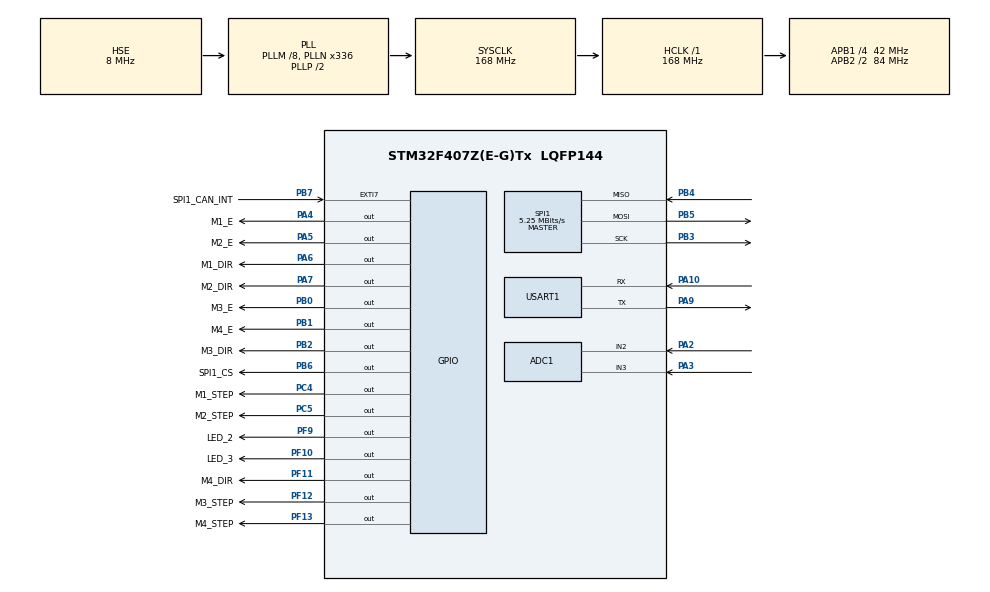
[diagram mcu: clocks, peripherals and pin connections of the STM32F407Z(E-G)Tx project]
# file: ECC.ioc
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ADC1.Channel-0\#ChannelRegularConversion=ADC_CHANNEL_3
ADC1.NbrOfConversionFlag=1
ADC1.Rank-0\#ChannelRegularConversion=1
ADC1.SamplingTime-0\#ChannelRegularConversion=ADC_SAMPLETIME_3CYCLES
ADC1.master=1
FREERTOS.Tasks01=defaultTask,0,128,StartDefaultTask,Default,NULL,Dynamic,NULL,NULL;Usart_Task,-3,128,Usart_Func,Default,NULL,Dynamic,NULL,NULL;MOT_Task,1,128,MOT_Func,Default,NULL,Dynamic,NULL,NULL;CanTask,1,128,CanTaskFunc,Default,NULL,Dynamic,NULL,NULL
Mcu.Family=STM32F4
Mcu.Name=STM32F407Z(E-G)Tx
Mcu.Package=LQFP144
NVIC.EXTI9_5_IRQn=true\:5\:0\:false\:false\:true\:true\:true
NVIC.PriorityGroup=NVIC_PRIORITYGROUP_4
PA10.Mode=Asynchronous
PA10.Signal=USART1_RX
PA13.Mode=Serial_Wire
PA13.Signal=SYS_JTMS-SWDIO
PA14.Mode=Serial_Wire
PA14.Signal=SYS_JTCK-SWCLK
PA2.Signal=ADCx_IN2
PA3.Signal=ADCx_IN3
PA4.GPIO_Label=M1_E
PA4.Signal=GPIO_Output
PA5.GPIO_Label=M2_E
PA5.Signal=GPIO_Output
PA6.GPIO_Label=M1_DIR
PA6.Signal=GPIO_Output
PA7.GPIO_Label=M2_DIR
PA7.Signal=GPIO_Output
PA9.Mode=Asynchronous
PA9.Signal=USART1_TX
PB0.GPIO_Label=M3_E
PB0.Signal=GPIO_Output
PB1.GPIO_Label=M4_E
PB1.Signal=GPIO_Output
PB2.GPIO_Label=M3_DIR
PB2.Signal=GPIO_Output
PB3.Mode=Full_Duplex_Master
PB3.Signal=SPI1_SCK
PB4.Mode=Full_Duplex_Master
PB4.Signal=SPI1_MISO
PB5.Mode=Full_Duplex_Master
PB5.Signal=SPI1_MOSI
PB6.GPIO_Label=SPI1_CS
PB6.GPIO_Speed=GPIO_SPEED_FREQ_MEDIUM
PB6.PinState=GPIO_PIN_SET
PB6.Signal=GPIO_Output
PB7.GPIO_Label=SPI1_CAN_INT
PB7.GPIO_ModeDefaultEXTI=GPIO_MODE_IT_FALLING
PB7.Signal=GPXTI7
PC14-OSC32_IN.Mode=LSE-External-Oscillator
PC14-OSC32_IN.Signal=RCC_OSC32_IN
PC15-OSC32_OUT.Mode=LSE-External-Oscillator
PC15-OSC32_OUT.Signal=RCC_OSC32_OUT
PC4.GPIO_Label=M1_STEP
PC4.Signal=GPIO_Output
PC5.GPIO_Label=M2_STEP
PC5.Signal=GPIO_Output
PF10.GPIO_Label=LED_3
PF10.Signal=GPIO_Output
PF11.GPIO_Label=M4_DIR
PF11.Signal=GPIO_Output
PF12.GPIO_Label=M3_STEP
PF12.Signal=GPIO_Output
PF13.GPIO_Label=M4_STEP
PF13.Signal=GPIO_Output
PF9.GPIO_Label=LED_2
PF9.Signal=GPIO_Output
PH0-OSC_IN.Mode=HSE-External-Oscillator
PH0-OSC_IN.Signal=RCC_OSC_IN
PH1-OSC_OUT.Mode=HSE-External-Oscillator
PH1-OSC_OUT.Signal=RCC_OSC_OUT
ProjectManager.HeapSize=0x200
ProjectManager.StackSize=0x400
ProjectManager.TargetToolchain=EWARM
RCC.48MHZClocksFreq_Value=84000000
RCC.AHBFreq_Value=168000000
RCC.APB1CLKDivider=RCC_HCLK_DIV4
RCC.APB1Freq_Value=42000000
RCC.APB1TimFreq_Value=84000000
RCC.APB2CLKDivider=RCC_HCLK_DIV2
RCC.APB2Freq_Value=84000000
RCC.APB2TimFreq_Value=168000000
RCC.CortexFreq_Value=168000000
RCC.HCLKFreq_Value=168000000
RCC.HSE_VALUE=8000000
RCC.HSI_VALUE=16000000
RCC.PLLM=8
RCC.PLLN=336
RCC.PLLSourceVirtual=RCC_PLLSOURCE_HSE
RCC.SYSCLKFreq_VALUE=168000000
RCC.SYSCLKSource=RCC_SYSCLKSOURCE_PLLCLK
RCC.VCOOutputFreq_Value=336000000
SH.ADCx_IN2.0=ADC1_IN2,IN2
SH.ADCx_IN3.0=ADC1_IN3,IN3
SPI1.BaudRatePrescaler=SPI_BAUDRATEPRESCALER_16
SPI1.CalculateBaudRate=5.25 MBits/s
SPI1.Direction=SPI_DIRECTION_2LINES
SPI1.Mode=SPI_MODE_MASTER
SPI1.VirtualType=VM_MASTER
USART1.VirtualMode=VM_ASYNC
VP_FREERTOS_VS_ENABLE.Mode=Enabled
board=ECC

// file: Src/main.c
/**
  ******************************************************************************
  * File Name          : main.c
  * Description        : Main program body
  ******************************************************************************
  * This notice applies to any and all portions of this file
  * that are not between comment pairs USER CODE BEGIN and
  * USER CODE END. Other portions of this file, whether
  * inserted by the user or by software development tools
  * are owned by their respective copyright owners.
  *
  * Copyright (c) 2017 STMicroelectronics International N.V.
  * All rights reserved.
  *
  * Redistribution and use in source and binary forms, with or without
  * modification, are permitted, provided that the following conditions are met:
  *
  * 1. Redistribution of source code must retain the above copyright notice,
  *    this list of conditions and the following disclaimer.
  * 2. Redistributions in binary form must reproduce the above copyright notice,
  *    this list of conditions and the following disclaimer in the documentation
  *    and/or other materials provided with the distribution.
  * 3. Neither the name of STMicroelectronics nor the names of other
  *    contributors to this software may be used to endorse or promote products
  *    derived from this software without specific written permission.
  * 4. This software, including modifications and/or derivative works of this
  *    software, must execute solely and exclusively on microcontroller or
  *    microprocessor devices manufactured by or for STMicroelectronics.
  * 5. Redistribution and use of this software other than as permitted under
  *    this license is void and will automatically terminate your rights under
  *    this license.
  *
  * THIS SOFTWARE IS PROVIDED BY STMICROELECTRONICS AND CONTRIBUTORS "AS IS"
  * AND ANY EXPRESS, IMPLIED OR STATUTORY WARRANTIES, INCLUDING, BUT NOT
  * LIMITED TO, THE IMPLIED WARRANTIES OF MERCHANTABILITY, FITNESS FOR A
  * PARTICULAR PURPOSE AND NON-INFRINGEMENT OF THIRD PARTY INTELLECTUAL PROPERTY
  * RIGHTS ARE DISCLAIMED TO THE FULLEST EXTENT PERMITTED BY LAW. IN NO EVENT
  * SHALL STMICROELECTRONICS OR CONTRIBUTORS BE LIABLE FOR ANY DIRECT, INDIRECT,
  * INCIDENTAL, SPECIAL, EXEMPLARY, OR CONSEQUENTIAL DAMAGES (INCLUDING, BUT NOT
  * LIMITED TO, PROCUREMENT OF SUBSTITUTE GOODS OR SERVICES; LOSS OF USE, DATA,
  * OR PROFITS; OR BUSINESS INTERRUPTION) HOWEVER CAUSED AND ON ANY THEORY OF
  * LIABILITY, WHETHER IN CONTRACT, STRICT LIABILITY, OR TORT (INCLUDING
  * NEGLIGENCE OR OTHERWISE) ARISING IN ANY WAY OUT OF THE USE OF THIS SOFTWARE,
  * EVEN IF ADVISED OF THE POSSIBILITY OF SUCH DAMAGE.
  *
  ******************************************************************************
  */
#include "main.h"
#include "stm32f4xx_hal.h"
#include "cmsis_os.h"

/* USER CODE BEGIN Includes */
#include "string.h"
#include "stm32f4xx_ll_usart.h"
#include "task.h"
#include "ADC.h"
#include "USART.h"
#include "Stepper.h"
#include "mcp2515.h"
#include "msp430_spi.h"
/* USER CODE END Includes */

ADC_HandleTypeDef hadc1;

SPI_HandleTypeDef hspi1;

UART_HandleTypeDef huart1;

osThreadId defaultTaskHandle;
osThreadId Usart_TaskHandle;
osThreadId MOT_TaskHandle;
osThreadId CanTaskHandle;

/* USER CODE BEGIN PV */
/* Private variables ---------------------------------------------------------*/

/* USER CODE END PV */

void SystemClock_Config(void);
static void MX_GPIO_Init(void);
static void MX_ADC1_Init(void);
static void MX_USART1_UART_Init(void);
static void MX_SPI1_Init(void);
void StartDefaultTask(void const * argument);
void Usart_Func(void const * argument);
void MOT_Func(void const * argument);
void CanTaskFunc(void const * argument);

/* USER CODE BEGIN PFP */
/* Private function prototypes -----------------------------------------------*/

/* USER CODE END PFP */

int main(void)
{

  /* MCU Configuration----------------------------------------------------------*/

  /* Reset of all peripherals, Initializes the Flash interface and the Systick. */
  HAL_Init();

  /* USER CODE BEGIN Init */
  ADC_Init();
  MOT_Init();

  USART_Used = &huart1;
  /* USER CODE END Init */

  /* Configure the system clock */
  SystemClock_Config();

  /* Initialize all configured peripherals */
  MX_GPIO_Init();
  MX_ADC1_Init();
  MX_USART1_UART_Init();
  MX_SPI1_Init();

  /* USER CODE BEGIN 2 */
  GPIOF->ODR |= 0x00000200;
  GPIOF->ODR |= 0x00000400;
  /* USER CODE END 2 */

  /* Create the thread(s) */
  /* definition and creation of defaultTask */
  osThreadDef(defaultTask, StartDefaultTask, osPriorityNormal, 0, 128);
  defaultTaskHandle = osThreadCreate(osThread(defaultTask), NULL);

  /* definition and creation of Usart_Task */
  osThreadDef(Usart_Task, Usart_Func, osPriorityIdle, 0, 128);
  Usart_TaskHandle = osThreadCreate(osThread(Usart_Task), NULL);

  /* definition and creation of MOT_Task */
  osThreadDef(MOT_Task, MOT_Func, osPriorityAboveNormal, 0, 128);
  MOT_TaskHandle = osThreadCreate(osThread(MOT_Task), NULL);

  /* definition and creation of CanTask */
  osThreadDef(CanTask, CanTaskFunc, osPriorityAboveNormal, 0, 128);
  CanTaskHandle = osThreadCreate(osThread(CanTask), NULL);

  /* Start scheduler */
  osKernelStart();

  /* We should never get here as control is now taken by the scheduler */

  /* Infinite loop */
  while (1)
  {

  }

}

/** System Clock Configuration
*/
void SystemClock_Config(void)
{

  RCC_OscInitTypeDef RCC_OscInitStruct;
  RCC_ClkInitTypeDef RCC_ClkInitStruct;

    /**Configure the main internal regulator output voltage
    */
  __HAL_RCC_PWR_CLK_ENABLE();

  __HAL_PWR_VOLTAGESCALING_CONFIG(PWR_REGULATOR_VOLTAGE_SCALE1);

    /**Initializes the CPU, AHB and APB busses clocks
    */
  RCC_OscInitStruct.OscillatorType = RCC_OSCILLATORTYPE_HSE;
  RCC_OscInitStruct.HSEState = RCC_HSE_ON;
  RCC_OscInitStruct.PLL.PLLState = RCC_PLL_ON;
  RCC_OscInitStruct.PLL.PLLSource = RCC_PLLSOURCE_HSE;
  RCC_OscInitStruct.PLL.PLLM = 8;
  RCC_OscInitStruct.PLL.PLLN = 336;
  RCC_OscInitStruct.PLL.PLLP = RCC_PLLP_DIV2;
  RCC_OscInitStruct.PLL.PLLQ = 4;
  if (HAL_RCC_OscConfig(&RCC_OscInitStruct) != HAL_OK)
  {
    _Error_Handler(__FILE__, __LINE__);
  }

    /**Initializes the CPU, AHB and APB busses clocks
    */
  RCC_ClkInitStruct.ClockType = RCC_CLOCKTYPE_HCLK|RCC_CLOCKTYPE_SYSCLK
                              |RCC_CLOCKTYPE_PCLK1|RCC_CLOCKTYPE_PCLK2;
  RCC_ClkInitStruct.SYSCLKSource = RCC_SYSCLKSOURCE_PLLCLK;
  RCC_ClkInitStruct.AHBCLKDivider = RCC_SYSCLK_DIV1;
  RCC_ClkInitStruct.APB1CLKDivider = RCC_HCLK_DIV4;
  RCC_ClkInitStruct.APB2CLKDivider = RCC_HCLK_DIV2;

  if (HAL_RCC_ClockConfig(&RCC_ClkInitStruct, FLASH_LATENCY_5) != HAL_OK)
  {
    _Error_Handler(__FILE__, __LINE__);
  }

    /**Configure the Systick interrupt time
    */
  HAL_SYSTICK_Config(HAL_RCC_GetHCLKFreq()/1000);

    /**Configure the Systick
    */
  HAL_SYSTICK_CLKSourceConfig(SYSTICK_CLKSOURCE_HCLK);

  /* SysTick_IRQn interrupt configuration */
  HAL_NVIC_SetPriority(SysTick_IRQn, 15, 0);
}

/* ADC1 init function */
static void MX_ADC1_Init(void)
{

  ADC_ChannelConfTypeDef sConfig;

    /**Configure the global features of the ADC (Clock, Resolution, Data Alignment and number of conversion)
    */
  hadc1.Instance = ADC1;
  hadc1.Init.ClockPrescaler = ADC_CLOCK_SYNC_PCLK_DIV4;
  hadc1.Init.Resolution = ADC_RESOLUTION_12B;
  hadc1.Init.ScanConvMode = DISABLE;
  hadc1.Init.ContinuousConvMode = DISABLE;
  hadc1.Init.DiscontinuousConvMode = DISABLE;
  hadc1.Init.ExternalTrigConvEdge = ADC_EXTERNALTRIGCONVEDGE_NONE;
  hadc1.Init.ExternalTrigConv = ADC_SOFTWARE_START;
  hadc1.Init.DataAlign = ADC_DATAALIGN_RIGHT;
  hadc1.Init.NbrOfConversion = 1;
  hadc1.Init.DMAContinuousRequests = DISABLE;
  hadc1.Init.EOCSelection = ADC_EOC_SINGLE_CONV;
  if (HAL_ADC_Init(&hadc1) != HAL_OK)
  {
    _Error_Handler(__FILE__, __LINE__);
  }

    /**Configure for the selected ADC regular channel its corresponding rank in the sequencer and its sample time.
    */
  sConfig.Channel = ADC_CHANNEL_3;
  sConfig.Rank = 1;
  sConfig.SamplingTime = ADC_SAMPLETIME_3CYCLES;
  if (HAL_ADC_ConfigChannel(&hadc1, &sConfig) != HAL_OK)
  {
    _Error_Handler(__FILE__, __LINE__);
  }

}

/* SPI1 init function */
static void MX_SPI1_Init(void)
{

  hspi1.Instance = SPI1;
  hspi1.Init.Mode = SPI_MODE_MASTER;
  hspi1.Init.Direction = SPI_DIRECTION_2LINES;
  hspi1.Init.DataSize = SPI_DATASIZE_8BIT;
  hspi1.Init.CLKPolarity = SPI_POLARITY_LOW;
  hspi1.Init.CLKPhase = SPI_PHASE_1EDGE;
  hspi1.Init.NSS = SPI_NSS_SOFT;
  hspi1.Init.BaudRatePrescaler = SPI_BAUDRATEPRESCALER_16;
  hspi1.Init.FirstBit = SPI_FIRSTBIT_MSB;
  hspi1.Init.TIMode = SPI_TIMODE_DISABLE;
  hspi1.Init.CRCCalculation = SPI_CRCCALCULATION_DISABLE;
  hspi1.Init.CRCPolynomial = 10;
  if (HAL_SPI_Init(&hspi1) != HAL_OK)
  {
    _Error_Handler(__FILE__, __LINE__);
  }

}

/* USART1 init function */
static void MX_USART1_UART_Init(void)
{

  huart1.Instance = USART1;
  huart1.Init.BaudRate = 115200;
  huart1.Init.WordLength = UART_WORDLENGTH_8B;
  huart1.Init.StopBits = UART_STOPBITS_1;
  huart1.Init.Parity = UART_PARITY_NONE;
  huart1.Init.Mode = UART_MODE_TX_RX;
  huart1.Init.HwFlowCtl = UART_HWCONTROL_NONE;
  huart1.Init.OverSampling = UART_OVERSAMPLING_16;
  if (HAL_UART_Init(&huart1) != HAL_OK)
  {
    _Error_Handler(__FILE__, __LINE__);
  }

}

/** Configure pins as
        * Analog
        * Input
        * Output
        * EVENT_OUT
        * EXTI
*/
static void MX_GPIO_Init(void)
{

  GPIO_InitTypeDef GPIO_InitStruct;

  /* GPIO Ports Clock Enable */
  __HAL_RCC_GPIOC_CLK_ENABLE();
  __HAL_RCC_GPIOF_CLK_ENABLE();
  __HAL_RCC_GPIOH_CLK_ENABLE();
  __HAL_RCC_GPIOA_CLK_ENABLE();
  __HAL_RCC_GPIOB_CLK_ENABLE();

  /*Configure GPIO pin Output Level */
  HAL_GPIO_WritePin(GPIOF, LED_2_Pin|LED_3_Pin|M4_DIR_Pin|M3_STEP_Pin
                          |M4_STEP_Pin, GPIO_PIN_RESET);

  /*Configure GPIO pin Output Level */
  HAL_GPIO_WritePin(GPIOA, M1_E_Pin|M2_E_Pin|M1_DIR_Pin|M2_DIR_Pin, GPIO_PIN_RESET);

  /*Configure GPIO pin Output Level */
  HAL_GPIO_WritePin(GPIOC, M1_STEP_Pin|M2_STEP_Pin, GPIO_PIN_RESET);

  /*Configure GPIO pin Output Level */
  HAL_GPIO_WritePin(GPIOB, M3_E_Pin|M4_E_Pin|M3_DIR_Pin, GPIO_PIN_RESET);

  /*Configure GPIO pin Output Level */
  HAL_GPIO_WritePin(SPI1_CS_GPIO_Port, SPI1_CS_Pin, GPIO_PIN_SET);

  /*Configure GPIO pins : LED_2_Pin LED_3_Pin M4_DIR_Pin M3_STEP_Pin
                           M4_STEP_Pin */
  GPIO_InitStruct.Pin = LED_2_Pin|LED_3_Pin|M4_DIR_Pin|M3_STEP_Pin
                          |M4_STEP_Pin;
  GPIO_InitStruct.Mode = GPIO_MODE_OUTPUT_PP;
  GPIO_InitStruct.Pull = GPIO_NOPULL;
  GPIO_InitStruct.Speed = GPIO_SPEED_FREQ_LOW;
  HAL_GPIO_Init(GPIOF, &GPIO_InitStruct);

  /*Configure GPIO pins : M1_E_Pin M2_E_Pin M1_DIR_Pin M2_DIR_Pin */
  GPIO_InitStruct.Pin = M1_E_Pin|M2_E_Pin|M1_DIR_Pin|M2_DIR_Pin;
  GPIO_InitStruct.Mode = GPIO_MODE_OUTPUT_PP;
  GPIO_InitStruct.Pull = GPIO_NOPULL;
  GPIO_InitStruct.Speed = GPIO_SPEED_FREQ_LOW;
  HAL_GPIO_Init(GPIOA, &GPIO_InitStruct);

  /*Configure GPIO pins : M1_STEP_Pin M2_STEP_Pin */
  GPIO_InitStruct.Pin = M1_STEP_Pin|M2_STEP_Pin;
  GPIO_InitStruct.Mode = GPIO_MODE_OUTPUT_PP;
  GPIO_InitStruct.Pull = GPIO_NOPULL;
  GPIO_InitStruct.Speed = GPIO_SPEED_FREQ_LOW;
  HAL_GPIO_Init(GPIOC, &GPIO_InitStruct);

  /*Configure GPIO pins : M3_E_Pin M4_E_Pin M3_DIR_Pin */
  GPIO_InitStruct.Pin = M3_E_Pin|M4_E_Pin|M3_DIR_Pin;
  GPIO_InitStruct.Mode = GPIO_MODE_OUTPUT_PP;
  GPIO_InitStruct.Pull = GPIO_NOPULL;
  GPIO_InitStruct.Speed = GPIO_SPEED_FREQ_LOW;
  HAL_GPIO_Init(GPIOB, &GPIO_InitStruct);

  /*Configure GPIO pin : SPI1_CS_Pin */
  GPIO_InitStruct.Pin = SPI1_CS_Pin;
  GPIO_InitStruct.Mode = GPIO_MODE_OUTPUT_PP;
  GPIO_InitStruct.Pull = GPIO_NOPULL;
  GPIO_InitStruct.Speed = GPIO_SPEED_FREQ_MEDIUM;
  HAL_GPIO_Init(SPI1_CS_GPIO_Port, &GPIO_InitStruct);

  /*Configure GPIO pin : SPI1_CAN_INT_Pin */
  GPIO_InitStruct.Pin = SPI1_CAN_INT_Pin;
  GPIO_InitStruct.Mode = GPIO_MODE_IT_FALLING;
  GPIO_InitStruct.Pull = GPIO_NOPULL;
  HAL_GPIO_Init(SPI1_CAN_INT_GPIO_Port, &GPIO_InitStruct);

  /* EXTI interrupt init*/
  HAL_NVIC_SetPriority(EXTI9_5_IRQn, 5, 0);
  HAL_NVIC_EnableIRQ(EXTI9_5_IRQn);

}

/* USER CODE BEGIN 4 */
void debugPrint(UART_HandleTypeDef *huart, char _out[])
{
    HAL_UART_Transmit(huart, (uint8_t *) _out, strlen(_out), 10);
}

void debugPrintln(UART_HandleTypeDef *huart, char _out[])
{
    HAL_UART_Transmit(huart, (uint8_t *) _out, strlen(_out), 10);
    char newline[2] = "\r\n";
    HAL_UART_Transmit(huart, (uint8_t *) newline, 2, 10);
}
/* USER CODE END 4 */

/* StartDefaultTask function */
void StartDefaultTask(void const * argument)
{

  /* USER CODE BEGIN 5 */
  int tmp_Measure_Res = 0;
  /* Infinite loop */
  for(;;)
  {
    osDelay(1000);

    tmp_Measure_Res = 0x00;
    tmp_Measure_Res = ADC_Measure_I();

    osDelay(10);
    tmp_Measure_Res = 0x00;
    tmp_Measure_Res = ADC_Measure_V();
  }
  /* USER CODE END 5 */
}

/* Usart_Func function */
void Usart_Func(void const * argument)
{
  /* USER CODE BEGIN Usart_Func */
  char warning = 0;
  HAL_StatusTypeDef Returned_Stat = HAL_OK;
  /* Infinite loop */
  for(;;)
  {
    //osDelay(1);
    /*if((HAL_TIMEOUT == Returned_Stat) && (0 == warning))
      {
        debugPrintln(&huart2, "NOK: TimeOUT -> Repeat the command...");
        warning = 1;
      }
    else
      */
      if(HAL_TIMEOUT != Returned_Stat)
      {
        warning = 0;
        GPIOF->ODR &= ~0x00000400;
        debugPrint(&huart1, "Command : ");
        HAL_UART_Transmit(&huart1, (uint8_t *)RX_Buffer, 10, 1);

        debugPrintln(&huart1, " OK: Executed -> Waiting for the next...");
        debugPrint(&huart1, "\r\n");

        if('M' == RX_Buffer[0])
          {
            MOT_Refresh((uint8_t *) RX_Buffer);
            GPIOF->ODR |= 0x00000400;
          }
         else if('A' == RX_Buffer[0])
          {
            ADC_Refresh();
            GPIOF->ODR |= 0x00000400;
          }
         else if('F' == RX_Buffer[0])
          {
            MOT_Forward();
          }
      }
    Returned_Stat = RX_Task();
  }
  /* USER CODE END Usart_Func */
}

/* MOT_Func function */
void MOT_Func(void const * argument)
{
  /* USER CODE BEGIN MOT_Func */
  /* Infinite loop */
  for(;;)
  {
    osDelay(2);
    MOT_Pulse_Gen();
  }
  /* USER CODE END MOT_Func */
}
int ttt=0;
/* CanTaskFunc function */
void CanTaskFunc(void const * argument)
{
  /* USER CODE BEGIN CanTaskFunc */
  can_init();
  /* Infinite loop */
  for(;;)
  {
      uint32_t msg = 0x04560456;
      uint32_t msg2;
      uint8_t buf_tx[8] = {'V', 'I', 'C', 'T', 'O', 'R', 'G', 'Y'};
      uint8_t buf_rx[8];
      uint8_t is_ext;

      if (can_recv(&msg2, &is_ext, &buf_rx) > -1) {

        if (msg2 == 837)
        {
          ttt = can_send(msg, 0, buf_tx, 8, 3);
          if (!strncmp((char *)buf_rx, "up", sizeof(buf_rx)))
          {
            MOT_back();
            GPIOF->ODR &= ~(1 << 10);
          }
          else if (!strncmp((char *)buf_rx, "d", sizeof(buf_rx)))
          {
            GPIOF->ODR |= (1 << 10);
            MOT_Forward();
          }
           if (!strncmp((char *)buf_rx, "l", sizeof(buf_rx)))
          {
            MOT_left();
          }
          else if (!strncmp((char *)buf_rx, "r", sizeof(buf_rx)))
          {
            MOT_right();
          }
        }
        msg2 = 0;
        memset(buf_rx, 0, sizeof(buf_rx));
        is_ext = 0;
      }
      osDelay(500);
  }
  /* USER CODE END CanTaskFunc */
}

void _Error_Handler(char * file, int line)
{
  while(1)
  {
  }
}

/************************ (C) COPYRIGHT STMicroelectronics *****END OF FILE****/
